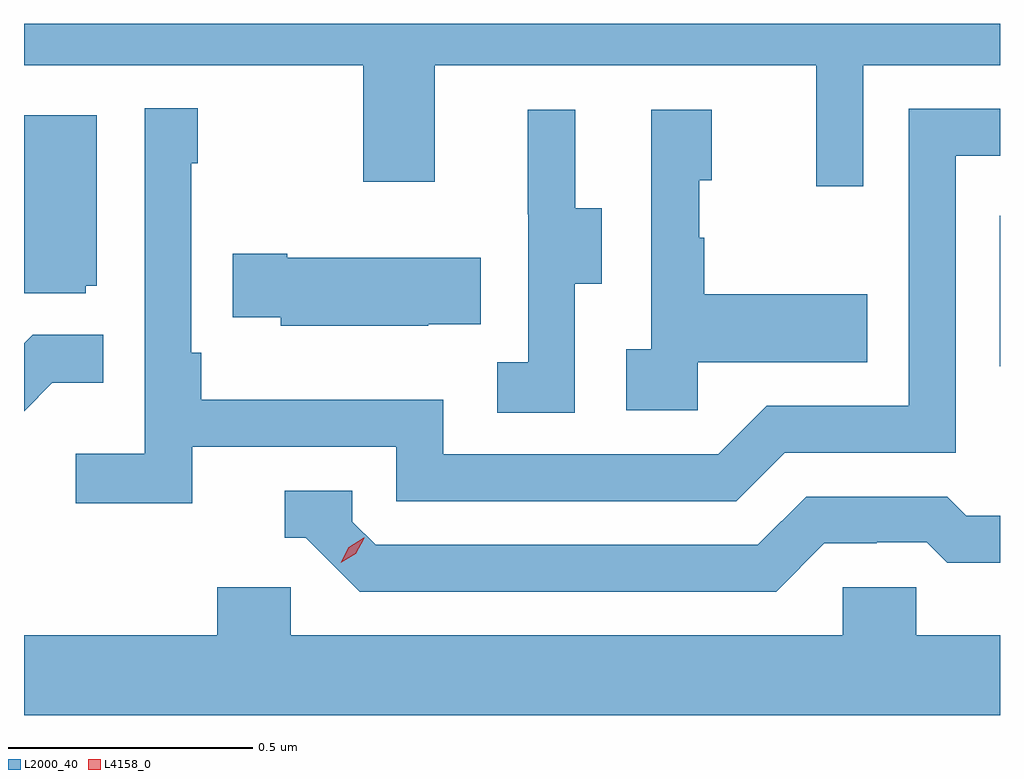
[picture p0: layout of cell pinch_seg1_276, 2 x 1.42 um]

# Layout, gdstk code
import gdstk
lib = gdstk.Library(unit=1e-6, precision=1e-09)
def R(c, l, rs):  # rectangles x0, y0, x1, y1
    for r in rs: c.add(gdstk.rectangle(r[:2], r[2:], *l))
def P(c, l, *ps):  # polygons
    for p in ps: c.add(gdstk.Polygon(p, *l))
L2000_40 = (2000, 40)
L4158_0 = (4158, 0)

pinch_seg1_276 = lib.new_cell('pinch_seg1_276')
R(pinch_seg1_276, L2000_40, [(936.36,568.431,936.361,568.74)])
P(pinch_seg1_276, L2000_40, [(936.081,569.048),(936.361,569.048),(936.361,569.133),(934.361,569.133),(934.361,569.048),(935.056,569.048),(935.056,568.809),(935.203,568.809),(935.203,569.048),(935.984,569.048),(935.984,568.8),(936.081,568.8)],
  [(934.706,568.266),(935.124,568.266),(935.124,568.155),(935.821,568.155),(935.92,568.254),(936.27,568.254),(936.27,568.863),(936.361,568.863),(936.361,568.959),(936.174,568.959),(936.174,568.35),(935.883,568.35),(935.784,568.251),(935.22,568.251),(935.22,568.363),(934.724,568.363),(934.724,568.459),(934.704,568.459),(934.704,568.847),(934.717,568.847),(934.717,568.96),(934.608,568.96),(934.608,568.252),(934.467,568.252),(934.467,568.15),(934.706,568.15)],
  [(935.742,568.439),(936.089,568.439),(936.089,568.579),(935.755,568.579),(935.755,568.694),(935.745,568.694),(935.745,568.812),(935.77,568.812),(935.77,568.957),(935.646,568.957),(935.646,568.466),(935.595,568.466),(935.595,568.341),(935.742,568.341)],
  [(935.49,568.6),(935.545,568.6),(935.545,568.755),(935.491,568.755),(935.491,568.957),(935.393,568.957),(935.393,568.743),(935.394,568.743),(935.394,568.439),(935.331,568.439),(935.331,568.336),(935.49,568.336)],
  [(934.488,568.596),(934.51,568.596),(934.51,568.945),(934.361,568.945),(934.361,568.581),(934.488,568.581)],
  [(935.189,568.517),(935.297,568.517),(935.297,568.654),(934.9,568.654),(934.9,568.662),(934.789,568.662),(934.789,568.532),(934.887,568.532),(934.887,568.514),(935.189,568.514)],
  [(934.419,568.397),(934.523,568.397),(934.523,568.496),(934.379,568.496),(934.361,568.478),(934.361,568.339)],
  [(936.001,568.068),(936.108,568.068),(936.108,568.071),(936.211,568.071),(936.253,568.029),(936.361,568.029),(936.361,568.125),(936.292,568.125),(936.253,568.164),(935.964,568.164),(935.865,568.065),(935.082,568.065),(935.034,568.113),(935.034,568.176),(934.895,568.176),(934.895,568.08),(934.938,568.08),(935.049,567.969),(935.902,567.969)],
  [(936.361,567.88),(936.189,567.88),(936.189,567.978),(936.039,567.978),(936.039,567.88),(934.908,567.88),(934.908,567.978),(934.757,567.978),(934.757,567.88),(934.361,567.88),(934.361,567.716),(936.361,567.716)])
P(pinch_seg1_276, L4158_0, [(935.01,568.028),(935.01,568.028),(935.026,568.06),(935.057,568.08),(935.058,568.08),(935.058,568.079),(935.041,568.047),(935.01,568.028)])

lib.write_gds('pinch_seg1_276.gds')
